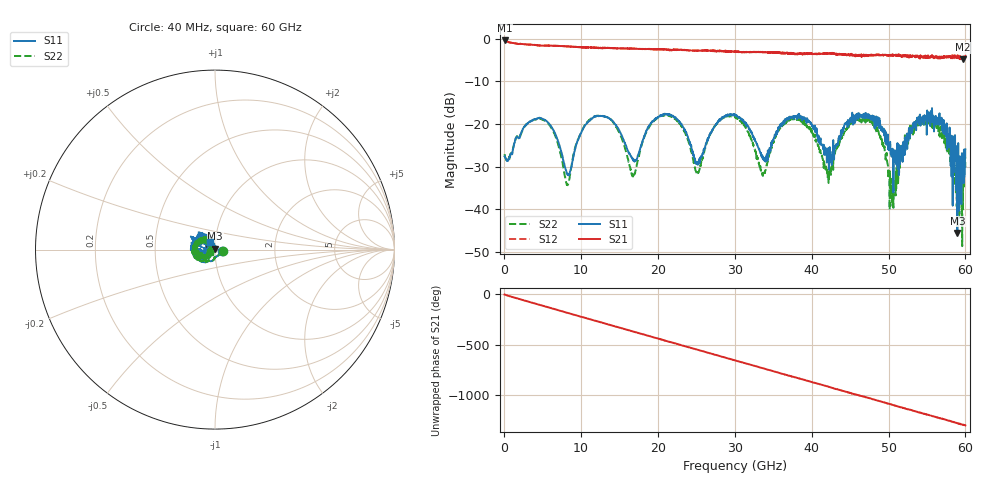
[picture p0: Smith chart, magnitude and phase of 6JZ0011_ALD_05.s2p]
! File created by 'SoftPlot +Plus+ Measurement Management Software'
! SoftPlot +Plus+ Measurement Management Software
! Start 40.000000 MHz  Stop 60.000000 GHz  Points 1601
# MHZ S RI R 50
! S-Parameter data, F S11 S21 S12 S22
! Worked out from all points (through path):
!   1601 points, 40 MHz to 60 GHz, reference 50 ohm
!   highest |S21| = -0.42 dB at 77.47 MHz (marker M1); lowest = -4.9 dB at 59.66 GHz (marker M2)
!   group delay of S21, straight-line fit = 59.9 ps
!   lowest |S11| = -45.6 dB at 58.95 GHz (marker M3), VSWR 1.01, Z = 50.2 + j0.5 ohm
!   |S11| at or under -10 dB: start of sweep to end of sweep
!   |S22| runs from -48.7 to -17.9 dB; largest |S21 - S12| = 0.08
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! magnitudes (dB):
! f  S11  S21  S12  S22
! 40 MHz  -27.6  -0.4  -0.4  -27.1
! 77.47 MHz  -27.6  -0.4  -0.4  -27.7
! 4.874 GHz  -18.7  -1.6  -1.6  -18.9
! 8.247 GHz  -31.9  -1.8  -1.8  -34.4
! 10.05 GHz  -21.9  -2.1  -2.0  -21.8
! 13.79 GHz  -18.9  -2.2  -2.2  -18.8
! 16.79 GHz  -28.6  -2.3  -2.3  -32.0
! 20.05 GHz  -18.3  -2.5  -2.5  -18.5
! 22.94 GHz  -19.9  -2.6  -2.7  -20.3
! 25.11 GHz  -29.2  -2.8  -2.8  -31.8
! 30.02 GHz  -17.8  -3.0  -3.0  -18.4
! 33.66 GHz  -27.7  -3.2  -3.1  -32.2
! 36.5 GHz  -18.9  -3.5  -3.5  -20.0
! 40.03 GHz  -20.1  -3.4  -3.6  -21.5
! 42.2 GHz  -27.1  -3.5  -3.5  -33.9
! 47.41 GHz  -17.7  -3.9  -3.9  -19.1
! 50.03 GHz  -26.2  -4.0  -3.9  -31.1
! 50.63 GHz  -36.1  -3.8  -3.9  -39.7
! 54.94 GHz  -18.3  -4.5  -4.4  -19.7
! 58.95 GHz  -45.6  -4.6  -4.2  -34.9
! 59.66 GHz  -27.9  -4.9  -4.4  -40.0
! 60 GHz  -26.0  -4.1  -4.4  -30.2
